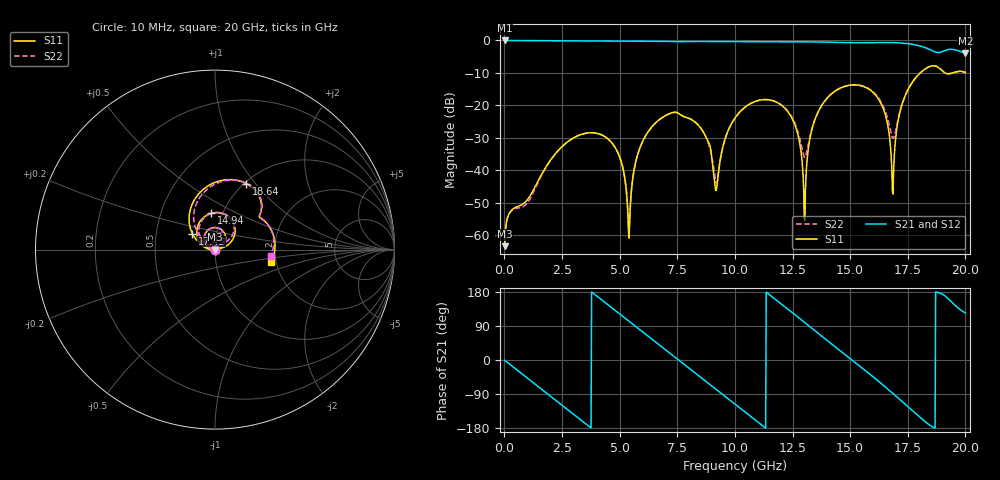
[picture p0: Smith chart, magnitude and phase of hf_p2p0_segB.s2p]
! Stitch-density study - 40 x 12 mm symmetric stripline, cut at x=20 mm
! Case: hf_p2p0_segB
! Sweep: 10 MHz - 20 GHz, 25 MHz step, 4 cores
# GHz S MA R 50.000000
! Terminal data exported
! Port[1] = U1.PAD1.SIG
! Port[2] = U2.PAD1.SIG
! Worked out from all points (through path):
!   801 points, 10 MHz to 20 GHz, reference 50 ohm
!   highest |S21| = -0.01 dB at 10 MHz (marker M1); lowest = -4.0 dB at 20 GHz (marker M2)
!   group delay of S21, straight-line fit = 133 ps
!   lowest |S11| = -63.3 dB at 10 MHz (marker M3), VSWR 1.00, Z = 50.1 + j0.0175 ohm
!   |S11| at or under -10 dB: start of sweep to 18.04 GHz; 19.11 GHz to 19.42 GHz (313.3 MHz wide, 1.63 % of centre)
!   |S22| runs from -63.3 to -7.8 dB; largest |S21 - S12| = 1.6e-13
!   S11 on the Smith chart (normalised r, x): 10 MHz: 1.00, +0.00; 14.94 GHz: 0.88, +0.37; 17.43 GHz: 0.76, +0.14; 18.64 GHz: 1.02, +0.90; 20 GHz: 1.88, -0.30
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0.01  0.0006801 14.9  0.9993 -0.5  0.9993 -0.5  0.00068 14.9
1.735  0.0103 -156.9  0.9893 -83.0  0.9893 -83.0  0.01004 -162.7
3.36  0.03597 111.7  0.9825 -160.3  0.9825 -160.3  0.03594 108.9
4.785  0.02305 43.8  0.9781 132.0  0.9781 132.0  0.02315 42.6
5.41  0.0009045 124.7  0.9764 102.2  0.9764 102.2  0.001137 111.2
5.81  0.01885 170.8  0.9749 83.1  0.9749 83.1  0.01872 168.7
6.685  0.05892 131.1  0.9697 41.4  0.9697 41.4  0.0588 130.2
8.41  0.04971 50.4  0.9648 -40.2  0.9648 -40.2  0.04995 51.6
9.185  0.004875 108.6  0.9633 -77.4  0.9633 -77.4  0.006362 90.8
10.01  0.06439 148.5  0.9589 -116.7  0.9589 -116.7  0.06389 148.4
11.11  0.1211 98.9  0.9515 -169.1  0.9515 -169.1  0.1209 101.4
12.135  0.09275 50.4  0.9512 142.1  0.9512 142.1  0.09424 57.7
12.71  0.03832 22.5  0.9526 114.4  0.9526 114.4  0.04222 43.6
13.01  0.001774 -11.7  0.9522 99.8  0.9522 99.8  0.01602 87.3
13.36  0.04514 172.8  0.9499 82.8  0.9499 82.8  0.04627 151.5
14.935  0.2034 96.0  0.9245 6.9  0.9245 6.9  0.2031 94.5
16.11  0.1431 39.1  0.9276 -49.9  0.9276 -49.9  0.1478 44.9
16.685  0.03816 12.8  0.9298 -79.2  0.9298 -79.2  0.05184 41.3
16.86  0.00432 127.1  0.9273 -88.4  0.9273 -88.4  0.03111 82.5
17.435  0.1548 144.7  0.8993 -119.2  0.8993 -119.2  0.1524 133.1
18.635  0.4071 64.7  0.6754 -178.3  0.6754 -178.3  0.409 63.4
20  0.3212 -12.8  0.6324 124.1  0.6324 124.1  0.3129 -6.2
